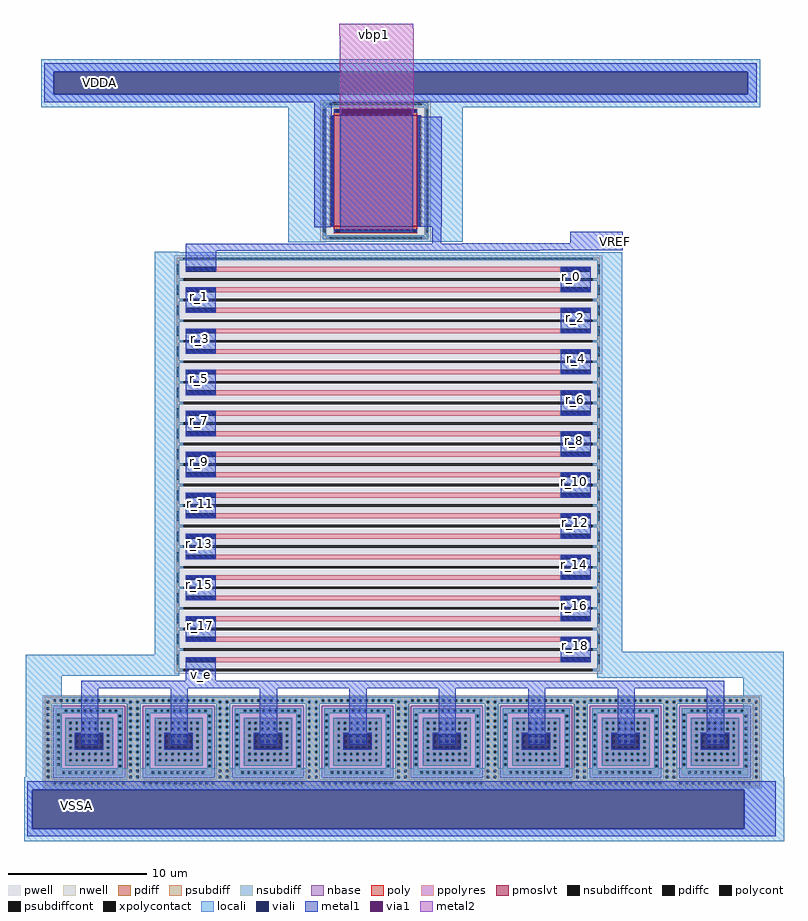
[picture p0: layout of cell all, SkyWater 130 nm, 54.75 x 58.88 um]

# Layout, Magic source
magic
tech sky130A
magscale 1 2
<< locali >>
rect 798 11966 11156 12148
rect 798 11646 980 11966
rect 10976 11646 11156 11966
rect 798 11454 11156 11646
rect 4358 9610 4902 11454
rect 6322 9610 6866 11454
rect 4358 9520 6866 9610
rect 4358 9516 6838 9520
rect 4358 9514 4902 9516
rect 2432 9366 2782 9372
rect 2432 9254 9170 9366
rect 2432 3570 2782 9254
rect 570 3268 2782 3570
rect 572 3262 2782 3268
rect 8808 3608 9168 9254
rect 572 1930 1090 3262
rect 8808 3246 11492 3608
rect 8810 3236 11492 3246
rect 10908 1930 11492 3236
rect 572 1806 11492 1930
rect 548 1620 11498 1806
rect 548 1058 666 1620
rect 10928 1058 11498 1620
rect 548 882 11498 1058
<< viali >>
rect 980 11646 10976 11966
rect 666 1058 10928 1620
<< metal1 >>
rect 840 11966 11102 12090
rect 840 11646 980 11966
rect 10976 11646 11102 11966
rect 840 11528 11102 11646
rect 4730 11330 4984 11528
rect 5106 11436 6148 11442
rect 5106 11366 5118 11436
rect 6132 11366 6148 11436
rect 4730 9734 5010 11330
rect 4730 9728 4966 9734
rect 5106 9652 6148 11366
rect 6224 9736 6566 11322
rect 6430 9490 6560 9736
rect 8418 9500 9178 9664
rect 6864 9490 9178 9500
rect 2878 9480 9178 9490
rect 2876 9394 9178 9480
rect 2876 9392 7970 9394
rect 2876 9092 3316 9392
rect 2880 8494 3312 8860
rect 8280 8790 8712 9156
rect 2880 7902 3312 8268
rect 8280 8198 8712 8564
rect 2880 7310 3312 7676
rect 8280 7606 8712 7972
rect 2880 6718 3312 7084
rect 8280 7014 8712 7380
rect 2880 6126 3312 6492
rect 8280 6422 8712 6788
rect 2880 5534 3312 5900
rect 8280 5830 8712 6196
rect 2880 4942 3312 5308
rect 8280 5238 8712 5604
rect 2880 4350 3312 4716
rect 8280 4646 8712 5012
rect 2880 3758 3312 4124
rect 8280 4054 8712 4420
rect 2880 3194 3312 3532
rect 8280 3462 8712 3828
rect 1374 3100 10636 3194
rect 1372 3084 10636 3100
rect 1372 2272 1620 3084
rect 2660 2272 2908 3084
rect 3948 2272 4196 3084
rect 5236 2272 5484 3084
rect 6524 2272 6772 3084
rect 7812 2272 8060 3084
rect 9096 3082 10636 3084
rect 9100 2272 9348 3082
rect 10388 2272 10636 3082
rect 596 1620 11382 1746
rect 596 1058 666 1620
rect 10928 1058 11382 1620
rect 596 952 11382 1058
<< via1 >>
rect 5118 11366 6132 11436
<< metal2 >>
rect 5092 12588 6158 12658
rect 5092 12490 6160 12588
rect 5094 11436 6160 12490
rect 5094 11366 5118 11436
rect 6132 11366 6160 11436
rect 5094 11364 6160 11366
use sky130_fd_pr__pfet_01v8_lvt_KLHPYA  XM3
transform 1 0 5614 0 1 10539
box -796 -1019 796 1019
use sky130_fd_pr__rf_pnp_05v5_W3p40L3p40  XQ3 $PDKPATH/libs.ref/sky130_fd_pr/mag
array 0 7 1288 0 0 1288
transform 1 0 818 0 1 1646
box 0 0 1340 1340
use sky130_fd_pr__res_high_po_0p35_2EL4HT  XR1
transform 0 1 5796 -1 0 9121
box -201 -3082 201 3082
use sky130_fd_pr__res_high_po_0p35_2EL4HT  XR2
transform 0 1 5796 -1 0 8825
box -201 -3082 201 3082
use sky130_fd_pr__res_high_po_0p35_2EL4HT  XR3
transform 0 1 5796 -1 0 8529
box -201 -3082 201 3082
use sky130_fd_pr__res_high_po_0p35_2EL4HT  XR4
transform 0 1 5796 -1 0 8233
box -201 -3082 201 3082
use sky130_fd_pr__res_high_po_0p35_2EL4HT  XR5
transform 0 1 5796 -1 0 7937
box -201 -3082 201 3082
use sky130_fd_pr__res_high_po_0p35_2EL4HT  XR6
transform 0 1 5796 -1 0 7641
box -201 -3082 201 3082
use sky130_fd_pr__res_high_po_0p35_2EL4HT  XR7
transform 0 1 5796 -1 0 7345
box -201 -3082 201 3082
use sky130_fd_pr__res_high_po_0p35_2EL4HT  XR8
transform 0 1 5796 -1 0 7049
box -201 -3082 201 3082
use sky130_fd_pr__res_high_po_0p35_2EL4HT  XR9
transform 0 1 5796 -1 0 6753
box -201 -3082 201 3082
use sky130_fd_pr__res_high_po_0p35_2EL4HT  XR10
transform 0 1 5796 -1 0 6457
box -201 -3082 201 3082
use sky130_fd_pr__res_high_po_0p35_2EL4HT  XR11
transform 0 1 5796 -1 0 6161
box -201 -3082 201 3082
use sky130_fd_pr__res_high_po_0p35_2EL4HT  XR12
transform 0 1 5796 -1 0 5865
box -201 -3082 201 3082
use sky130_fd_pr__res_high_po_0p35_2EL4HT  XR13
transform 0 1 5796 -1 0 5569
box -201 -3082 201 3082
use sky130_fd_pr__res_high_po_0p35_2EL4HT  XR14
transform 0 1 5796 -1 0 5273
box -201 -3082 201 3082
use sky130_fd_pr__res_high_po_0p35_2EL4HT  XR15
transform 0 1 5796 -1 0 4977
box -201 -3082 201 3082
use sky130_fd_pr__res_high_po_0p35_2EL4HT  XR16
transform 0 1 5796 -1 0 4681
box -201 -3082 201 3082
use sky130_fd_pr__res_high_po_0p35_2EL4HT  XR17
transform 0 1 5796 -1 0 4385
box -201 -3082 201 3082
use sky130_fd_pr__res_high_po_0p35_2EL4HT  XR18
transform 0 1 5796 -1 0 4089
box -201 -3082 201 3082
use sky130_fd_pr__res_high_po_0p35_2EL4HT  XR19
transform 0 1 5796 -1 0 3793
box -201 -3082 201 3082
use sky130_fd_pr__res_high_po_0p35_2EL4HT  XR20
transform 0 1 5796 -1 0 3497
box -201 -3082 201 3082
<< labels >>
flabel metal1 1200 1302 1400 1502 0 FreeSans 1600 0 0 0 VSSA
port 0 nsew
flabel metal1 1536 11716 1736 11916 0 FreeSans 1600 0 0 0 VDDA
port 2 nsew
flabel metal2 5500 12410 5700 12610 0 FreeSans 1600 0 0 0 vbp1
port 3 nsew
flabel metal1 8976 9428 9176 9628 0 FreeSans 1600 0 0 0 VREF
port 1 nsew
flabel metal1 8434 9020 8434 9020 0 FreeSans 320 0 0 0 r_0
flabel metal1 3082 8730 3082 8730 0 FreeSans 320 0 0 0 r_1
flabel metal1 8500 8424 8500 8424 0 FreeSans 320 0 0 0 r_2
flabel metal1 3084 8126 3084 8126 0 FreeSans 320 0 0 0 r_3
flabel metal1 8508 7830 8508 7830 0 FreeSans 320 0 0 0 r_4
flabel metal1 3082 7542 3082 7542 0 FreeSans 320 0 0 0 r_5
flabel metal1 8488 7240 8488 7240 0 FreeSans 320 0 0 0 r_6
flabel metal1 3072 6940 3072 6940 0 FreeSans 320 0 0 0 r_7
flabel metal1 8484 6656 8484 6656 0 FreeSans 320 0 0 0 r_8
flabel metal1 3078 6352 3078 6352 0 FreeSans 320 0 0 0 r_9
flabel metal1 8480 6060 8480 6060 0 FreeSans 320 0 0 0 r_10
flabel metal1 3094 5750 3094 5750 0 FreeSans 320 0 0 0 r_11
flabel metal1 8500 5480 8500 5480 0 FreeSans 320 0 0 0 r_12
flabel metal1 3074 5164 3074 5164 0 FreeSans 320 0 0 0 r_13
flabel metal1 8480 4870 8480 4870 0 FreeSans 320 0 0 0 r_14
flabel metal1 3070 4576 3070 4576 0 FreeSans 320 0 0 0 r_15
flabel metal1 8478 4280 8478 4280 0 FreeSans 320 0 0 0 r_16
flabel metal1 3094 3992 3094 3992 0 FreeSans 320 0 0 0 r_17
flabel metal1 8492 3704 8492 3704 0 FreeSans 320 0 0 0 r_18
flabel metal1 3090 3278 3090 3278 0 FreeSans 320 0 0 0 v_e
<< end >>

# cell sky130_fd_pr__pfet_01v8_lvt_KLHPYA: kit device sky130_fd_pr__pfet_01v8_lvt, w 8.0 l 6.0 m 1 nf 1 diffcov 100 polycov 100 guard 1 glc 1 grc 1 gtc 1 gbc 1 tbcov 100 rlcov 100 topc 1 botc 1 poverlap 0 doverlap 1 lmin 0.35 wmin 0.42 class mosfet compatible {sky130_fd_pr__pfet_01v8 sky130_fd_pr__pfet_01v8_lvt sky130_fd_pr__pfet_01v8_hvt sky130_fd_pr__pfet_g5v0d10v5} full_metal 1 conn_gates 0 viasrc 100 viadrn 100 viagate 100 viagb 0 viagr 0 viagl 0 viagt 0 doports 1

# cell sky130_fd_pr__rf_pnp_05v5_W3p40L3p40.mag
magic
tech sky130A
magscale 1 2
<< pwell >>
rect 0 1187 1340 1340
rect 0 153 153 1187
rect 1187 153 1340 1187
rect 0 0 1340 153
<< nbase >>
rect 153 153 1187 1187
<< pdiff >>
rect 330 958 1010 1010
rect 330 924 384 958
rect 418 924 474 958
rect 508 924 564 958
rect 598 924 654 958
rect 688 924 744 958
rect 778 924 834 958
rect 868 924 924 958
rect 958 924 1010 958
rect 330 868 1010 924
rect 330 834 384 868
rect 418 834 474 868
rect 508 834 564 868
rect 598 834 654 868
rect 688 834 744 868
rect 778 834 834 868
rect 868 834 924 868
rect 958 834 1010 868
rect 330 778 1010 834
rect 330 744 384 778
rect 418 744 474 778
rect 508 744 564 778
rect 598 744 654 778
rect 688 744 744 778
rect 778 744 834 778
rect 868 744 924 778
rect 958 744 1010 778
rect 330 688 1010 744
rect 330 654 384 688
rect 418 654 474 688
rect 508 654 564 688
rect 598 654 654 688
rect 688 654 744 688
rect 778 654 834 688
rect 868 654 924 688
rect 958 654 1010 688
rect 330 598 1010 654
rect 330 564 384 598
rect 418 564 474 598
rect 508 564 564 598
rect 598 564 654 598
rect 688 564 744 598
rect 778 564 834 598
rect 868 564 924 598
rect 958 564 1010 598
rect 330 508 1010 564
rect 330 474 384 508
rect 418 474 474 508
rect 508 474 564 508
rect 598 474 654 508
rect 688 474 744 508
rect 778 474 834 508
rect 868 474 924 508
rect 958 474 1010 508
rect 330 418 1010 474
rect 330 384 384 418
rect 418 384 474 418
rect 508 384 564 418
rect 598 384 654 418
rect 688 384 744 418
rect 778 384 834 418
rect 868 384 924 418
rect 958 384 1010 418
rect 330 330 1010 384
<< pdiffc >>
rect 384 924 418 958
rect 474 924 508 958
rect 564 924 598 958
rect 654 924 688 958
rect 744 924 778 958
rect 834 924 868 958
rect 924 924 958 958
rect 384 834 418 868
rect 474 834 508 868
rect 564 834 598 868
rect 654 834 688 868
rect 744 834 778 868
rect 834 834 868 868
rect 924 834 958 868
rect 384 744 418 778
rect 474 744 508 778
rect 564 744 598 778
rect 654 744 688 778
rect 744 744 778 778
rect 834 744 868 778
rect 924 744 958 778
rect 384 654 418 688
rect 474 654 508 688
rect 564 654 598 688
rect 654 654 688 688
rect 744 654 778 688
rect 834 654 868 688
rect 924 654 958 688
rect 384 564 418 598
rect 474 564 508 598
rect 564 564 598 598
rect 654 564 688 598
rect 744 564 778 598
rect 834 564 868 598
rect 924 564 958 598
rect 384 474 418 508
rect 474 474 508 508
rect 564 474 598 508
rect 654 474 688 508
rect 744 474 778 508
rect 834 474 868 508
rect 924 474 958 508
rect 384 384 418 418
rect 474 384 508 418
rect 564 384 598 418
rect 654 384 688 418
rect 744 384 778 418
rect 834 384 868 418
rect 924 384 958 418
<< psubdiff >>
rect 26 1279 1314 1314
rect 26 1256 156 1279
rect 26 1222 60 1256
rect 94 1245 156 1256
rect 190 1245 246 1279
rect 280 1245 336 1279
rect 370 1245 426 1279
rect 460 1245 516 1279
rect 550 1245 606 1279
rect 640 1245 696 1279
rect 730 1245 786 1279
rect 820 1245 876 1279
rect 910 1245 966 1279
rect 1000 1245 1056 1279
rect 1090 1245 1146 1279
rect 1180 1256 1314 1279
rect 1180 1245 1247 1256
rect 94 1222 1247 1245
rect 1281 1222 1314 1256
rect 26 1213 1314 1222
rect 26 1166 127 1213
rect 26 1132 60 1166
rect 94 1132 127 1166
rect 1213 1166 1314 1213
rect 26 1076 127 1132
rect 26 1042 60 1076
rect 94 1042 127 1076
rect 26 986 127 1042
rect 26 952 60 986
rect 94 952 127 986
rect 26 896 127 952
rect 26 862 60 896
rect 94 862 127 896
rect 26 806 127 862
rect 26 772 60 806
rect 94 772 127 806
rect 26 716 127 772
rect 26 682 60 716
rect 94 682 127 716
rect 26 626 127 682
rect 26 592 60 626
rect 94 592 127 626
rect 26 536 127 592
rect 26 502 60 536
rect 94 502 127 536
rect 26 446 127 502
rect 26 412 60 446
rect 94 412 127 446
rect 26 356 127 412
rect 26 322 60 356
rect 94 322 127 356
rect 26 266 127 322
rect 26 232 60 266
rect 94 232 127 266
rect 26 176 127 232
rect 1213 1132 1247 1166
rect 1281 1132 1314 1166
rect 1213 1076 1314 1132
rect 1213 1042 1247 1076
rect 1281 1042 1314 1076
rect 1213 986 1314 1042
rect 1213 952 1247 986
rect 1281 952 1314 986
rect 1213 896 1314 952
rect 1213 862 1247 896
rect 1281 862 1314 896
rect 1213 806 1314 862
rect 1213 772 1247 806
rect 1281 772 1314 806
rect 1213 716 1314 772
rect 1213 682 1247 716
rect 1281 682 1314 716
rect 1213 626 1314 682
rect 1213 592 1247 626
rect 1281 592 1314 626
rect 1213 536 1314 592
rect 1213 502 1247 536
rect 1281 502 1314 536
rect 1213 446 1314 502
rect 1213 412 1247 446
rect 1281 412 1314 446
rect 1213 356 1314 412
rect 1213 322 1247 356
rect 1281 322 1314 356
rect 1213 266 1314 322
rect 1213 232 1247 266
rect 1281 232 1314 266
rect 26 142 60 176
rect 94 142 127 176
rect 26 127 127 142
rect 1213 176 1314 232
rect 1213 142 1247 176
rect 1281 142 1314 176
rect 1213 127 1314 142
rect 26 92 1314 127
rect 26 58 156 92
rect 190 58 246 92
rect 280 58 336 92
rect 370 58 426 92
rect 460 58 516 92
rect 550 58 606 92
rect 640 58 696 92
rect 730 58 786 92
rect 820 58 876 92
rect 910 58 966 92
rect 1000 58 1056 92
rect 1090 58 1146 92
rect 1180 58 1314 92
rect 26 26 1314 58
<< nsubdiff >>
rect 189 1132 1151 1151
rect 189 1098 320 1132
rect 354 1098 410 1132
rect 444 1098 500 1132
rect 534 1098 590 1132
rect 624 1098 680 1132
rect 714 1098 770 1132
rect 804 1098 860 1132
rect 894 1098 950 1132
rect 984 1098 1040 1132
rect 1074 1098 1151 1132
rect 189 1079 1151 1098
rect 189 1075 261 1079
rect 189 1041 208 1075
rect 242 1041 261 1075
rect 189 985 261 1041
rect 1079 1056 1151 1079
rect 1079 1022 1098 1056
rect 1132 1022 1151 1056
rect 189 951 208 985
rect 242 951 261 985
rect 189 895 261 951
rect 189 861 208 895
rect 242 861 261 895
rect 189 805 261 861
rect 189 771 208 805
rect 242 771 261 805
rect 189 715 261 771
rect 189 681 208 715
rect 242 681 261 715
rect 189 625 261 681
rect 189 591 208 625
rect 242 591 261 625
rect 189 535 261 591
rect 189 501 208 535
rect 242 501 261 535
rect 189 445 261 501
rect 189 411 208 445
rect 242 411 261 445
rect 189 355 261 411
rect 189 321 208 355
rect 242 321 261 355
rect 1079 966 1151 1022
rect 1079 932 1098 966
rect 1132 932 1151 966
rect 1079 876 1151 932
rect 1079 842 1098 876
rect 1132 842 1151 876
rect 1079 786 1151 842
rect 1079 752 1098 786
rect 1132 752 1151 786
rect 1079 696 1151 752
rect 1079 662 1098 696
rect 1132 662 1151 696
rect 1079 606 1151 662
rect 1079 572 1098 606
rect 1132 572 1151 606
rect 1079 516 1151 572
rect 1079 482 1098 516
rect 1132 482 1151 516
rect 1079 426 1151 482
rect 1079 392 1098 426
rect 1132 392 1151 426
rect 1079 336 1151 392
rect 189 261 261 321
rect 1079 302 1098 336
rect 1132 302 1151 336
rect 1079 261 1151 302
rect 189 242 1151 261
rect 189 208 286 242
rect 320 208 376 242
rect 410 208 466 242
rect 500 208 556 242
rect 590 208 646 242
rect 680 208 736 242
rect 770 208 826 242
rect 860 208 916 242
rect 950 208 1006 242
rect 1040 208 1151 242
rect 189 189 1151 208
<< psubdiffcont >>
rect 60 1222 94 1256
rect 156 1245 190 1279
rect 246 1245 280 1279
rect 336 1245 370 1279
rect 426 1245 460 1279
rect 516 1245 550 1279
rect 606 1245 640 1279
rect 696 1245 730 1279
rect 786 1245 820 1279
rect 876 1245 910 1279
rect 966 1245 1000 1279
rect 1056 1245 1090 1279
rect 1146 1245 1180 1279
rect 1247 1222 1281 1256
rect 60 1132 94 1166
rect 60 1042 94 1076
rect 60 952 94 986
rect 60 862 94 896
rect 60 772 94 806
rect 60 682 94 716
rect 60 592 94 626
rect 60 502 94 536
rect 60 412 94 446
rect 60 322 94 356
rect 60 232 94 266
rect 1247 1132 1281 1166
rect 1247 1042 1281 1076
rect 1247 952 1281 986
rect 1247 862 1281 896
rect 1247 772 1281 806
rect 1247 682 1281 716
rect 1247 592 1281 626
rect 1247 502 1281 536
rect 1247 412 1281 446
rect 1247 322 1281 356
rect 1247 232 1281 266
rect 60 142 94 176
rect 1247 142 1281 176
rect 156 58 190 92
rect 246 58 280 92
rect 336 58 370 92
rect 426 58 460 92
rect 516 58 550 92
rect 606 58 640 92
rect 696 58 730 92
rect 786 58 820 92
rect 876 58 910 92
rect 966 58 1000 92
rect 1056 58 1090 92
rect 1146 58 1180 92
<< nsubdiffcont >>
rect 320 1098 354 1132
rect 410 1098 444 1132
rect 500 1098 534 1132
rect 590 1098 624 1132
rect 680 1098 714 1132
rect 770 1098 804 1132
rect 860 1098 894 1132
rect 950 1098 984 1132
rect 1040 1098 1074 1132
rect 208 1041 242 1075
rect 1098 1022 1132 1056
rect 208 951 242 985
rect 208 861 242 895
rect 208 771 242 805
rect 208 681 242 715
rect 208 591 242 625
rect 208 501 242 535
rect 208 411 242 445
rect 208 321 242 355
rect 1098 932 1132 966
rect 1098 842 1132 876
rect 1098 752 1132 786
rect 1098 662 1132 696
rect 1098 572 1132 606
rect 1098 482 1132 516
rect 1098 392 1132 426
rect 1098 302 1132 336
rect 286 208 320 242
rect 376 208 410 242
rect 466 208 500 242
rect 556 208 590 242
rect 646 208 680 242
rect 736 208 770 242
rect 826 208 860 242
rect 916 208 950 242
rect 1006 208 1040 242
<< locali >>
rect 26 1279 1314 1314
rect 26 1256 156 1279
rect 26 1222 60 1256
rect 94 1245 156 1256
rect 190 1245 246 1279
rect 280 1245 336 1279
rect 370 1245 426 1279
rect 460 1245 516 1279
rect 550 1245 606 1279
rect 640 1245 696 1279
rect 730 1245 786 1279
rect 820 1245 876 1279
rect 910 1245 966 1279
rect 1000 1245 1056 1279
rect 1090 1245 1146 1279
rect 1180 1256 1314 1279
rect 1180 1245 1247 1256
rect 94 1222 1247 1245
rect 1281 1222 1314 1256
rect 26 1215 1314 1222
rect 26 1166 125 1215
rect 26 1132 60 1166
rect 94 1132 125 1166
rect 1215 1166 1314 1215
rect 26 1076 125 1132
rect 26 1042 60 1076
rect 94 1042 125 1076
rect 26 986 125 1042
rect 26 952 60 986
rect 94 952 125 986
rect 26 896 125 952
rect 26 862 60 896
rect 94 862 125 896
rect 26 806 125 862
rect 26 772 60 806
rect 94 772 125 806
rect 26 716 125 772
rect 26 682 60 716
rect 94 682 125 716
rect 26 626 125 682
rect 26 592 60 626
rect 94 592 125 626
rect 26 536 125 592
rect 26 502 60 536
rect 94 502 125 536
rect 26 446 125 502
rect 26 412 60 446
rect 94 412 125 446
rect 26 356 125 412
rect 26 322 60 356
rect 94 322 125 356
rect 26 266 125 322
rect 26 232 60 266
rect 94 232 125 266
rect 26 176 125 232
rect 189 1132 1151 1151
rect 189 1098 320 1132
rect 354 1098 410 1132
rect 444 1098 500 1132
rect 534 1098 590 1132
rect 624 1098 680 1132
rect 714 1098 770 1132
rect 804 1098 860 1132
rect 894 1098 950 1132
rect 984 1098 1040 1132
rect 1074 1098 1151 1132
rect 189 1079 1151 1098
rect 189 1075 261 1079
rect 189 1041 208 1075
rect 242 1041 261 1075
rect 189 985 261 1041
rect 1079 1056 1151 1079
rect 1079 1022 1098 1056
rect 1132 1022 1151 1056
rect 189 951 208 985
rect 242 951 261 985
rect 189 895 261 951
rect 189 861 208 895
rect 242 861 261 895
rect 189 805 261 861
rect 189 771 208 805
rect 242 771 261 805
rect 189 715 261 771
rect 189 681 208 715
rect 242 681 261 715
rect 189 625 261 681
rect 189 591 208 625
rect 242 591 261 625
rect 189 535 261 591
rect 189 501 208 535
rect 242 501 261 535
rect 189 445 261 501
rect 189 411 208 445
rect 242 411 261 445
rect 189 355 261 411
rect 189 321 208 355
rect 242 321 261 355
rect 323 958 1017 1017
rect 323 924 384 958
rect 418 924 474 958
rect 508 924 564 958
rect 598 924 654 958
rect 688 924 744 958
rect 778 924 834 958
rect 868 924 924 958
rect 958 924 1017 958
rect 323 868 1017 924
rect 323 834 384 868
rect 418 834 474 868
rect 508 834 564 868
rect 598 834 654 868
rect 688 834 744 868
rect 778 834 834 868
rect 868 834 924 868
rect 958 834 1017 868
rect 323 778 1017 834
rect 323 744 384 778
rect 418 744 472 778
rect 868 744 924 778
rect 958 744 1017 778
rect 323 688 472 744
rect 868 688 1017 744
rect 323 654 384 688
rect 418 654 472 688
rect 868 654 924 688
rect 958 654 1017 688
rect 323 598 472 654
rect 868 598 1017 654
rect 323 564 384 598
rect 418 564 472 598
rect 868 564 924 598
rect 958 564 1017 598
rect 323 508 1017 564
rect 323 474 384 508
rect 418 474 474 508
rect 508 474 564 508
rect 598 474 654 508
rect 688 474 744 508
rect 778 474 834 508
rect 868 474 924 508
rect 958 474 1017 508
rect 323 418 1017 474
rect 323 384 384 418
rect 418 384 474 418
rect 508 384 564 418
rect 598 384 654 418
rect 688 384 744 418
rect 778 384 834 418
rect 868 384 924 418
rect 958 384 1017 418
rect 323 323 1017 384
rect 1079 966 1151 1022
rect 1079 932 1098 966
rect 1132 932 1151 966
rect 1079 876 1151 932
rect 1079 842 1098 876
rect 1132 842 1151 876
rect 1079 786 1151 842
rect 1079 752 1098 786
rect 1132 752 1151 786
rect 1079 696 1151 752
rect 1079 662 1098 696
rect 1132 662 1151 696
rect 1079 606 1151 662
rect 1079 572 1098 606
rect 1132 572 1151 606
rect 1079 516 1151 572
rect 1079 482 1098 516
rect 1132 482 1151 516
rect 1079 426 1151 482
rect 1079 392 1098 426
rect 1132 392 1151 426
rect 1079 336 1151 392
rect 189 261 261 321
rect 1079 302 1098 336
rect 1132 302 1151 336
rect 1079 261 1151 302
rect 189 242 1151 261
rect 189 208 286 242
rect 320 208 376 242
rect 410 208 466 242
rect 500 208 556 242
rect 590 208 646 242
rect 680 208 736 242
rect 770 208 826 242
rect 860 208 916 242
rect 950 208 1006 242
rect 1040 208 1151 242
rect 189 189 1151 208
rect 1215 1132 1247 1166
rect 1281 1132 1314 1166
rect 1215 1076 1314 1132
rect 1215 1042 1247 1076
rect 1281 1042 1314 1076
rect 1215 986 1314 1042
rect 1215 952 1247 986
rect 1281 952 1314 986
rect 1215 896 1314 952
rect 1215 862 1247 896
rect 1281 862 1314 896
rect 1215 806 1314 862
rect 1215 772 1247 806
rect 1281 772 1314 806
rect 1215 716 1314 772
rect 1215 682 1247 716
rect 1281 682 1314 716
rect 1215 626 1314 682
rect 1215 592 1247 626
rect 1281 592 1314 626
rect 1215 536 1314 592
rect 1215 502 1247 536
rect 1281 502 1314 536
rect 1215 446 1314 502
rect 1215 412 1247 446
rect 1281 412 1314 446
rect 1215 356 1314 412
rect 1215 322 1247 356
rect 1281 322 1314 356
rect 1215 266 1314 322
rect 1215 232 1247 266
rect 1281 232 1314 266
rect 26 142 60 176
rect 94 142 125 176
rect 26 125 125 142
rect 1215 176 1314 232
rect 1215 142 1247 176
rect 1281 142 1314 176
rect 1215 125 1314 142
rect 26 92 1314 125
rect 26 58 156 92
rect 190 58 246 92
rect 280 58 336 92
rect 370 58 426 92
rect 460 58 516 92
rect 550 58 606 92
rect 640 58 696 92
rect 730 58 786 92
rect 820 58 876 92
rect 910 58 966 92
rect 1000 58 1056 92
rect 1090 58 1146 92
rect 1180 58 1314 92
rect 26 26 1314 58
<< viali >>
rect 472 744 474 778
rect 474 744 508 778
rect 508 744 564 778
rect 564 744 598 778
rect 598 744 654 778
rect 654 744 688 778
rect 688 744 744 778
rect 744 744 778 778
rect 778 744 834 778
rect 834 744 868 778
rect 472 688 868 744
rect 472 654 474 688
rect 474 654 508 688
rect 508 654 564 688
rect 564 654 598 688
rect 598 654 654 688
rect 654 654 688 688
rect 688 654 744 688
rect 744 654 778 688
rect 778 654 834 688
rect 834 654 868 688
rect 472 598 868 654
rect 472 564 474 598
rect 474 564 508 598
rect 508 564 564 598
rect 564 564 598 598
rect 598 564 654 598
rect 654 564 688 598
rect 688 564 744 598
rect 744 564 778 598
rect 778 564 834 598
rect 834 564 868 598
<< metal1 >>
rect 464 778 874 796
rect 464 564 472 778
rect 868 564 874 778
rect 464 550 874 564
<< labels >>
flabel locali s 554 626 802 730 0 FreeSans 400 0 0 0 Emitter
port 2 nsew
flabel locali s 613 1252 714 1301 0 FreeSans 400 0 0 0 Collector
port 3 nsew
flabel locali s 590 1102 708 1142 0 FreeSans 400 0 0 0 Base
port 4 nsew
<< end >>

# cell sky130_fd_pr__res_high_po_0p35_2EL4HT: kit device sky130_fd_pr__res_high_po_0p35, w 0.350 l 25.0 m 1 nx 1 wmin 0.350 lmin 0.50 class resistor rho 319.8 val 23.956k dummy 0 dw 0.0 term 194.82 sterm 0.0 caplen 0 guard 1 glc 1 grc 1 gtc 1 gbc 1 compatible {sky130_fd_pr__res_high_po_0p35 sky130_fd_pr__res_high_po_0p69 sky130_fd_pr__res_high_po_1p41 sky130_fd_pr__res_high_po_2p85 sky130_fd_pr__res_high_po_5p73} snake 0 full_metal 1 wmax 0.350 vias 1 n_guard 0 hv_guard 0 viagb 0 viagt 0 viagl 0 viagr 0 doports 1 mult 1
